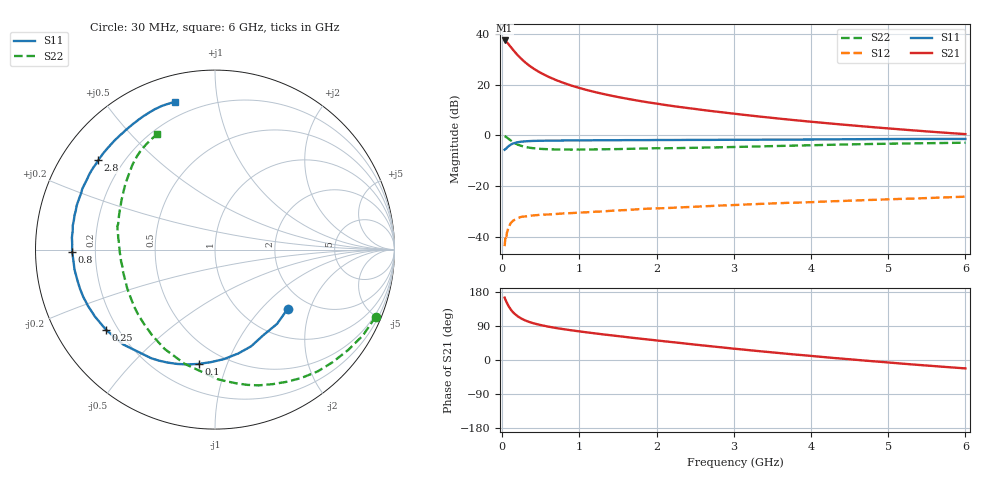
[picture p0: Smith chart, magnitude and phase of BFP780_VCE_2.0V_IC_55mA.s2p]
! Infineon Technologies  Discrete & RF Semiconductors
! BFP780
! VCE =  2.0 V,  IC =  55 mA
! Common Emitter S-Parameters:  Jul 2015
# GHz  S  MA  R  50
!  f  S11  S21  S12  S22
! GHz  MAG  ANG  MAG  ANG  MAG  ANG  MAG  ANG
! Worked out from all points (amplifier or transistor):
!   75 points, 30 MHz to 6 GHz, reference 50 ohm
!   highest |S21| = 37.5 dB at 30 MHz (marker M1)
!   |S21| within 3 dB of that: start of sweep to 120.7 MHz
!   unconditionally stable (mu >= 1): 2.016 GHz to end of sweep
!   at 150 MHz: K = 0.13, MSG = 33.5 dB, |S12| = -33.5 dB
!   at 2.3 GHz: K = 1.08, MAG = 18.1 dB, |S12| = -28.4 dB
!   at 6 GHz: K = 1.38, MAG = 8.7 dB, |S12| = -24.2 dB
!   S11 on the Smith chart (normalised r, x): 30 MHz: 1.57, -1.43; 100 MHz: 0.37, -0.80; 250 MHz: 0.16, -0.32; 800 MHz: 0.11, -0.01; 2.8 GHz: 0.11, +0.33; 6 GHz: 0.13, +0.76
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0.03  0.5224 -39.1  75.29 164.7  0.0065 75.3  0.9699 -22.7
0.05  0.5475 -60.5  71.23 154.9  0.0086 69.1  0.9292 -37.0
0.06  0.5751 -69.5  68.89 150.8  0.0121 62.8  0.9069 -43.8
0.08  0.6123 -85.4  63.71 142.9  0.0158 54.7  0.8619 -56.1
0.1  0.6432 -98.0  58.38 136.4  0.0175 50.0  0.8156 -66.8
0.12  0.671 -108.3  53.45 130.6  0.0194 45.0  0.7751 -76.5
0.15  0.7016 -120.3  46.99 123.8  0.0212 39.7  0.7222 -88.8
0.2  0.7359 -134.1  38.44 115.2  0.0232 33.2  0.6587 -104.8
0.25  0.7539 -143.7  32.26 109.0  0.0248 29.0  0.6206 -116.9
0.3  0.7659 -150.8  27.54 104.2  0.0251 27.1  0.5919 -126.3
0.35  0.7742 -156.2  23.99 100.3  0.0258 24.2  0.5725 -133.8
0.45  0.7832 -163.9  18.99 94.5  0.0267 21.7  0.5509 -144.9
0.6  0.7906 -171.9  14.38 87.9  0.0275 20.3  0.5347 -156.2
0.8  0.7961 -179.2  10.83 81.2  0.0289 19.7  0.5271 -166.0
1.1  0.7995 172.6  7.861 72.8  0.0304 20.1  0.5275 -175.9
1.5  0.8054 164.4  5.738 63.1  0.0331 21.3  0.5382 175.1
2.1  0.813 153.8  4.028 49.4  0.0366 21.2  0.558 165.2
2.8  0.8195 142.6  2.925 34.2  0.0412 20.4  0.5823 154.2
3.1  0.8223 138.1  2.587 28.0  0.0428 19.8  0.5967 149.7
4.1  0.8343 124.1  1.809 8.9  0.049 17.0  0.6457 137.1
5.1  0.8512 113.1  1.341 -8.2  0.0554 13.1  0.6903 126.3
6  0.8528 105.1  1.063 -22.2  0.0618 8.7  0.719 116.7
